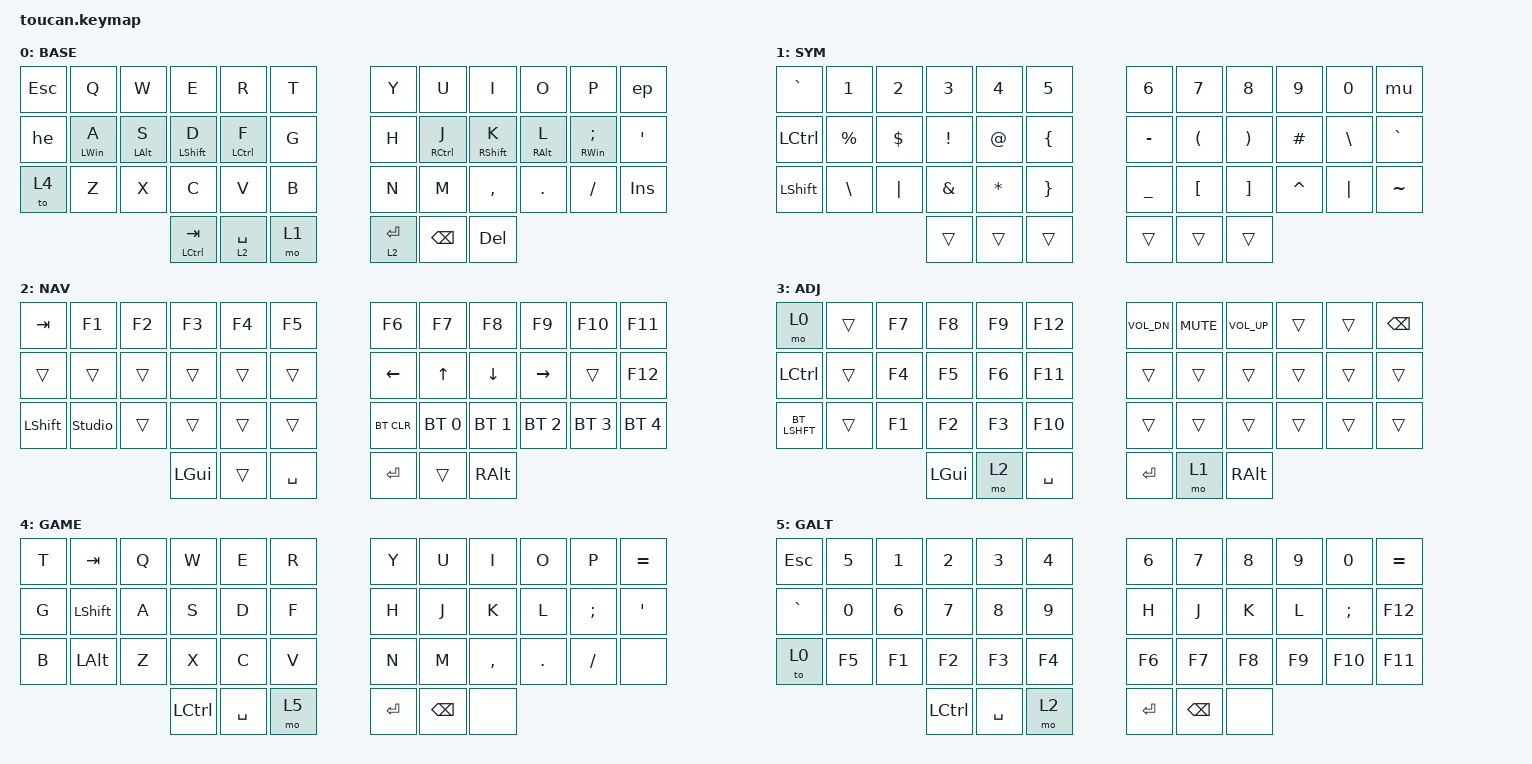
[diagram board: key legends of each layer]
#include <behaviors.dtsi>
#include <dt-bindings/zmk/bt.h>
#include <dt-bindings/zmk/keys.h>

#define BASE 0
#define NAV  1
#define SYM  2
#define ADJ  3

/ {
    conditional_layers {
        compatible = "zmk,conditional-layers";

        tri_layer {
            if-layers = <2 1>;
            then-layer = <3>;
        };
    };

    combos {
        compatible = "zmk,combos";

        combo_ctrl_1 {
            timeout-ms = <50>;
            key-positions = <36 2>;
            layers = <4>;
            bindings = <&kp LC(NUMBER_1)>;
        };

        combo_ctrl_2 {
            timeout-ms = <50>;
            key-positions = <36 3>;
            layers = <4>;
            bindings = <&kp LC(NUMBER_2)>;
        };

        combo_ctrl_3 {
            timeout-ms = <50>;
            key-positions = <36 4>;
            layers = <4>;
            bindings = <&kp LC(NUMBER_3)>;
        };

        combo_ctrl_4 {
            timeout-ms = <50>;
            key-positions = <36 5>;
            layers = <4>;
            bindings = <&kp LC(NUMBER_4)>;
        };

        combo_ctrl_5 {
            timeout-ms = <50>;
            key-positions = <36 1>;
            layers = <4>;
            bindings = <&kp LC(NUMBER_5)>;
        };

        combo_ctrl_6 {
            timeout-ms = <50>;
            key-positions = <36 6>;
            layers = <4>;
            bindings = <&kp LC(NUMBER_6)>;
        };

        combo_ctrl_7 {
            timeout-ms = <50>;
            key-positions = <36 7>;
            layers = <4>;
            bindings = <&kp LC(NUMBER_7)>;
        };
        
        combo_ctrl_8 {
            timeout-ms = <50>;
            key-positions = <36 8>;
            layers = <4>;
            bindings = <&kp LC(NUMBER_8)>;
        };

        combo_ctrl_9 {
            timeout-ms = <50>;
            key-positions = <36 9>;
            layers = <4>;
            bindings = <&kp LC(NUMBER_9)>;
        };

        combo_ctrl_0 {
            timeout-ms = <50>;
            key-positions = <36 10>;
            layers = <4>;
            bindings = <&kp LC(NUMBER_0)>;
        };
    };

    behaviors {
        he: home_end {
            compatible = "zmk,behavior-tap-dance";
            label = "HOME_END";
            tapping-term-ms = <170>;
            #binding-cells = <0>;
            bindings = <&kp HOME>, <&kp END>;
        };

        ep: equal_plus {
            compatible = "zmk,behavior-tap-dance";
            label = "EQUAL_PLUS";
            #binding-cells = <0>;
            tapping-term-ms = <170>;
            bindings = <&kp EQUAL>, <&kp PLUS>;
        };

        mu: minus_underscore {
            compatible = "zmk,behavior-tap-dance";
            label = "MINUS_UNDERSCORE";
            tapping-term-ms = <170>;
            #binding-cells = <0>;
            bindings = <&kp MINUS>, <&kp UNDER>;
        };

        mt: mod_tap {
            compatible = "zmk,behavior-hold-tap";
            flavor = "tap-preferred";
            tapping-term-ms = <170>;
            #binding-cells = <2>;
            bindings = <&kp>, <&kp>;

            display-name = "Mod-Tap";
        };

        lt: layer_tap {
            compatible = "zmk,behavior-hold-tap";
            #binding-cells = <2>;
            flavor = "tap-preferred";
            tapping-term-ms = <170>;
            bindings = <&mo>, <&kp>;

            display-name = "Layer-Tap";
        };
    };

    keymap {
        compatible = "zmk,keymap";

        base {
            display-name = "BASE";
            bindings = <
&kp ESC  &kp Q           &kp W           &kp E                 &kp R               &kp T    &kp Y        &kp U                &kp I              &kp O            &kp P               &ep
&he      &mt LEFT_WIN A  &mt LEFT_ALT S  &mt LEFT_SHIFT D      &mt LEFT_CONTROL F  &kp G    &kp H        &mt RIGHT_CONTROL J  &mt RIGHT_SHIFT K  &mt RIGHT_ALT L  &mt RIGHT_WIN SEMI  &kp SQT
&to 4    &kp Z           &kp X           &kp C                 &kp V               &kp B    &kp N        &kp M                &kp COMMA          &kp DOT          &kp FSLH            &kp INSERT
                                         &mt LEFT_CONTROL TAB  &lt 2 SPACE         &mo 1    &lt 2 ENTER  &kp BACKSPACE        &kp DELETE
            >;
        };

        sym {
            display-name = "SYM";
            bindings = <
&kp GRAVE  &kp N1         &kp N2      &kp N3         &kp N4     &kp N5             &kp N6     &kp N7                &kp N8                 &kp N9     &kp N0    &mu
&kp LCTRL  &kp PERCENT    &kp DOLLAR  &kp EXCL       &kp AT     &kp LEFT_BRACE     &kp MINUS  &kp LEFT_PARENTHESIS  &kp RIGHT_PARENTHESIS  &kp HASH   &kp BSLH  &kp GRAVE
&kp LSHFT  &kp BACKSLASH  &kp PIPE    &kp AMPERSAND  &kp ASTRK  &kp RIGHT_BRACE    &kp UNDER  &kp LEFT_BRACKET      &kp RIGHT_BRACKET      &kp CARET  &kp PIPE  &kp TILDE
                                      &trans         &trans     &trans             &trans     &trans                &trans
            >;
        };

        nav {
            display-name = "NAV";
            bindings = <
&kp TAB    &kp F1          &kp F2  &kp F3    &kp F4  &kp F5       &kp F6      &kp F7        &kp F8        &kp F9        &kp F10       &kp F11
&trans     &trans          &trans  &trans    &trans  &trans       &kp LEFT    &kp UP        &kp DOWN      &kp RIGHT     &trans        &kp F12
&kp LSHFT  &studio_unlock  &trans  &trans    &trans  &trans       &bt BT_CLR  &bt BT_SEL 0  &bt BT_SEL 1  &bt BT_SEL 2  &bt BT_SEL 3  &bt BT_SEL 4
                                   &kp LGUI  &trans  &kp SPACE    &kp RET     &trans        &kp RALT
            >;
        };

        adj {
            display-name = "ADJ";
            bindings = <
&mo 0      &trans  &kp F7  &kp F8    &kp F9  &kp F12      &kp C_VOL_DN  &kp C_MUTE  &kp C_VOL_UP  &trans  &trans  &kp BSPC
&kp LCTRL  &trans  &kp F4  &kp F5    &kp F6  &kp F11      &trans        &trans      &trans        &trans  &trans  &trans
&bt LSHFT  &trans  &kp F1  &kp F2    &kp F3  &kp F10      &trans        &trans      &trans        &trans  &trans  &trans
                           &kp LGUI  &mo 2   &kp SPACE    &kp RET       &mo 1       &kp RALT
            >;
        };

        game {
            display-name = "GAME";
            bindings = <
&kp T  &kp TAB    &kp Q  &kp W      &kp E      &kp R    &kp Y    &kp U          &kp I      &kp O    &kp P     &kp EQUAL
&kp G  &kp LSHFT  &kp A  &kp S      &kp D      &kp F    &kp H    &kp J          &kp K      &kp L    &kp SEMI  &kp SQT
&kp B  &kp LALT   &kp Z  &kp X      &kp C      &kp V    &kp N    &kp M          &kp COMMA  &kp DOT  &kp FSLH  &none
                         &kp LCTRL  &kp SPACE  &mo 5    &kp RET  &kp BACKSPACE  &none
            >;
        };

        game_alt {
            display-name = "GALT";
            bindings = <
&kp ESC    &kp N5  &kp N1  &kp N2     &kp N3     &kp N4    &kp NUMBER_6  &kp N7         &kp N8  &kp N9  &kp N0    &kp EQUAL
&kp GRAVE  &kp N0  &kp N6  &kp N7     &kp N8     &kp N9    &kp H         &kp J          &kp K   &kp L   &kp SEMI  &kp F12
&to 0      &kp F5  &kp F1  &kp F2     &kp F3     &kp F4    &kp F6        &kp F7         &kp F8  &kp F9  &kp F10   &kp F11
                           &kp LCTRL  &kp SPACE  &mo 2     &kp RET       &kp BACKSPACE  &none
            >;
        };

        extra_2 { status = "reserved"; };

        extra_3 { status = "reserved"; };
    };
};
